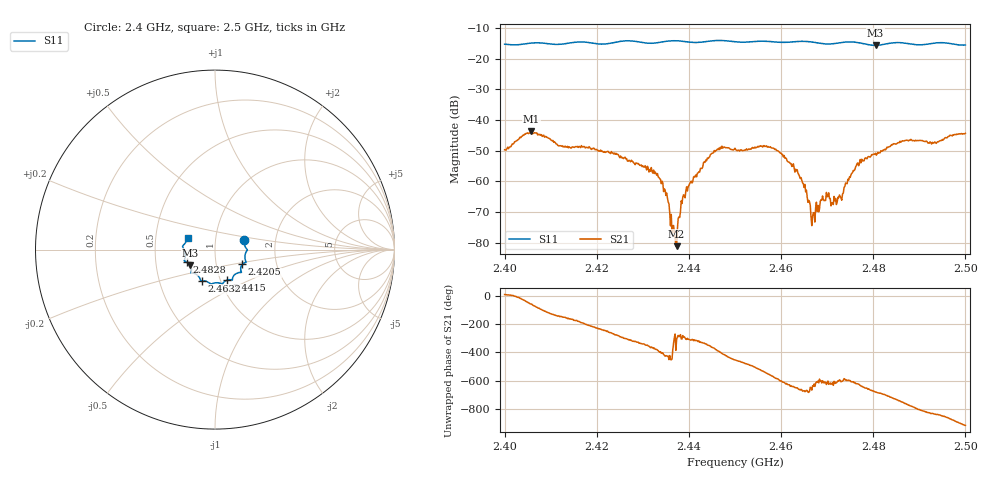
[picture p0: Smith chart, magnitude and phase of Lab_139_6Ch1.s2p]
# Hz S RI R 50
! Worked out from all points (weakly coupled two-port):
!   601 points, 2.4 GHz to 2.5 GHz, reference 50 ohm
!   highest |S21| = -43.62 dB at 2.4058 GHz (marker M1); lowest = -81.2 dB at 2.4373 GHz (marker M2)
!   lowest |S11| = -15.7 dB at 2.4805 GHz (marker M3), VSWR 1.39, Z = 37.3 - j6.7 ohm
!   |S11| at or under -10 dB: start of sweep to end of sweep
!   S12 and S22 are empty: the file has one direction only
!   S11 on the Smith chart (normalised r, x): 2.4 GHz: 1.38, +0.15; 2.4205 GHz: 1.34, -0.22; 2.4415 GHz: 1.07, -0.38; 2.4632 GHz: 0.82, -0.29; 2.4828 GHz: 0.72, -0.10; 2.5 GHz: 0.73, +0.10
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2.4e9  0.1636 0.0515  0.00323 0.000418  0 0  0 0
2.405833e9  0.1788 0.00125  0.00342 -0.00563  0 0  0 0
2.416667e9  0.1729 -0.07  -0.00374 0.00069  0 0  0 0
2.4205e9  0.1522 -0.0816  -0.00174 0.00255  0 0  0 0
2.433333e9  0.1007 -0.1514  0.00104 -0.000553  0 0  0 0
2.435167e9  0.0974 -0.1647  0.000274 -0.000581  0 0  0 0
2.436833e9  0.0966 -0.1696  6.65e-05 0.000127  0 0  0 0
2.437333e9  0.0958 -0.1698  5.31e-05 6.93e-05  0 0  0 0
2.438833e9  0.0892 -0.1681  0.000231 0.000556  0 0  0 0
2.4415e9  0.0654 -0.1706  0.000908 0.000884  0 0  0 0
2.446e9  0.0414 -0.1923  0.00294 -0.00126  0 0  0 0
2.45e9  0.0245 -0.1863  -0.000207 -0.00344  0 0  0 0
2.458e9  -0.0315 -0.1857  -0.00309 0.00162  0 0  0 0
2.463167e9  -0.0731 -0.1739  0.000513 0.00148  0 0  0 0
2.466667e9  -0.0821 -0.167  0.000113 0.000151  0 0  0 0
2.469833e9  -0.0977 -0.1426  -3.52e-05 0.000655  0 0  0 0
2.472667e9  -0.1241 -0.1305  -0.000348 0.000485  0 0  0 0
2.476667e9  -0.1326 -0.1248  -0.000231 0.00198  0 0  0 0
2.4805e9  -0.139 -0.0875  0.0022 0.00183  0 0  0 0
2.482833e9  -0.1587 -0.07  0.00329 0.000948  0 0  0 0
2.483333e9  -0.1626 -0.0681  0.00357 0.00068  0 0  0 0
2.5e9  -0.1527 0.0647  -0.00583 0.00162  0 0  0 0
